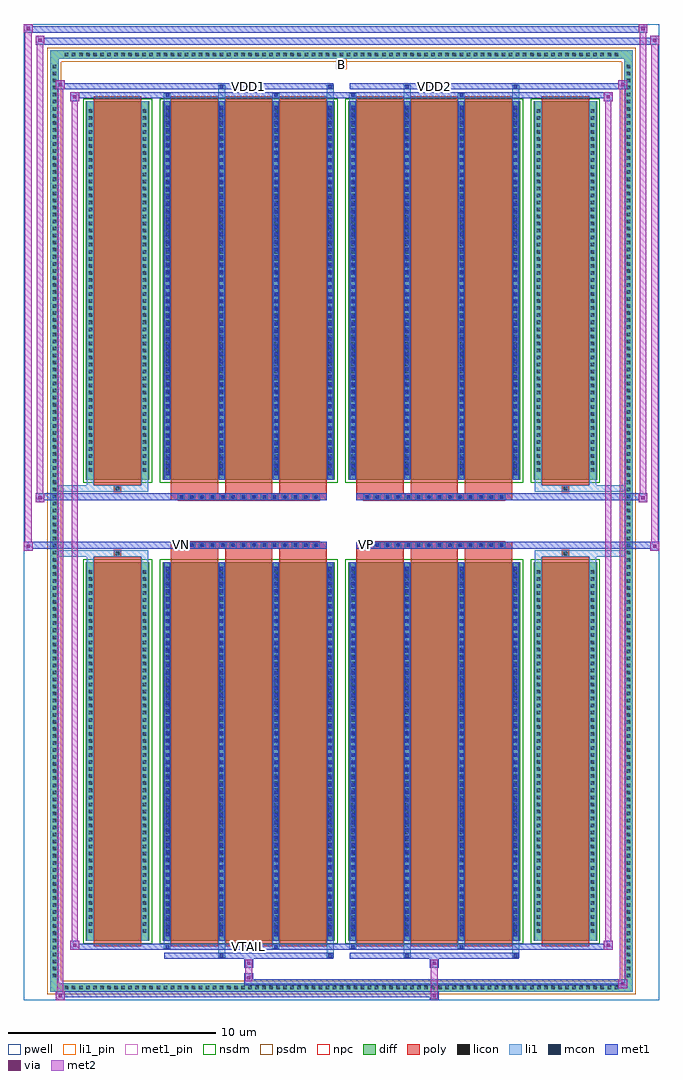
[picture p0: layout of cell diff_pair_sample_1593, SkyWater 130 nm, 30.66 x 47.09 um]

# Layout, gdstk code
import gdstk
lib = gdstk.Library(unit=1e-6, precision=5e-09)
def R(c, l, rs):  # rectangles x0, y0, x1, y1
    for r in rs: c.add(gdstk.rectangle(r[:2], r[2:], *l))
def A(c, l, x, y, w, h, nx, ny, dx, dy):  # array of equal rectangles
    R(c, l, [(x+i*dx, y+j*dy, x+i*dx+w, y+j*dy+h) for i in range(nx) for j in range(ny)])
def P(c, l, *ps):  # polygons
    for p in ps: c.add(gdstk.Polygon(p, *l))
pwell = (64, 44)
diff = (65, 20)
poly = (66, 20)
licon = (66, 44)
li1_pin = (67, 16)
li1 = (67, 20)
mcon = (67, 44)
met1_pin = (68, 16)
met1 = (68, 20)
via = (68, 44)
met2 = (69, 20)
nsdm = (93, 44)
psdm = (94, 20)
npc = (95, 20)

diff_pair_sample_1593 = lib.new_cell('diff_pair_sample_1593')
R(diff_pair_sample_1593, pwell, [(-15.33,-23.11,15.33,23.98), (-12.65,-21.3,-0.01,-0.8), (0.01,-21.3,12.65,-0.8), (-12.65,0.8,-0.01,21.3), (0.01,0.8,12.65,21.3)])
A(diff_pair_sample_1593, diff, -13.465, -22.71, 0.41, 0.41, 79, 2, 0.34, 45.01)
A(diff_pair_sample_1593, diff, -14.06, -22.135, 0.41, 0.41, 1, 130, 0, 0.34)
A(diff_pair_sample_1593, diff, 13.65, -22.135, 0.41, 0.41, 1, 130, 0, 0.34)
R(diff_pair_sample_1593, diff, [(-13.465,-22.71,13.465,-22.3), (-14.06,-22.135,-13.65,22.135), (13.65,-22.135,14.06,22.135), (-12.34,-20.255,-9.27,-1.985), (-8.63,-20.255,-0.32,-1.985), (0.32,-20.255,8.63,-1.985), (9.27,-20.255,12.34,-1.985), (-12.34,1.985,-9.27,20.255), (-8.63,1.985,-0.32,20.255), (0.32,1.985,8.63,20.255), (9.27,1.985,12.34,20.255), (-13.465,22.3,13.465,22.71)])
P(diff_pair_sample_1593, diff, [(14.06,22.71),(-14.06,22.71),(-14.06,-22.3),(-13.65,-22.3),(-13.65,22.3),(13.65,22.3),(13.65,-22.3),(-13.65,-22.3),(-14.06,-22.3),(-14.06,-22.71),(14.06,-22.71)])
A(diff_pair_sample_1593, poly, -8.24, -20.505, 2.29, 18.77, 3, 2, 2.62, 22.24)
A(diff_pair_sample_1593, poly, 0.71, -20.505, 2.29, 18.77, 3, 2, 2.62, 22.24)
A(diff_pair_sample_1593, poly, -8.24, -1.735, 2.29, 0.405, 3, 2, 2.62, 3.065)
A(diff_pair_sample_1593, poly, 0.71, -1.735, 2.29, 0.405, 3, 2, 2.62, 3.065)
A(diff_pair_sample_1593, poly, -7.89, -1.33, 0.33, 0.33, 14, 2, 0.5, 2.33)
A(diff_pair_sample_1593, poly, 1.06, -1.33, 0.33, 0.33, 14, 2, 0.5, 2.33)
R(diff_pair_sample_1593, poly, [(-11.95,-20.505,-9.66,-1.735), (9.66,-20.505,11.95,-1.735), (-10.97,-1.735,-10.64,-1.405), (-10.97,-1.735,-10.64,-1.405), (10.64,-1.735,10.97,-1.405), (10.64,-1.735,10.97,-1.405), (-8.24,-1.33,-0.71,-1), (0.71,-1.33,8.24,-1), (-8.24,1,-0.71,1.33), (0.71,1,8.24,1.33), (-10.97,1.405,-10.64,1.735), (-10.97,1.405,-10.64,1.735), (10.64,1.405,10.97,1.735), (10.64,1.405,10.97,1.735), (-11.95,1.735,-9.66,20.505), (9.66,1.735,11.95,20.505)])
A(diff_pair_sample_1593, licon, -13.345, -22.59, 0.17, 0.17, 79, 2, 0.34, 45.01)
A(diff_pair_sample_1593, licon, -13.94, -22.015, 0.17, 0.17, 1, 130, 0, 0.34)
A(diff_pair_sample_1593, licon, 13.77, -22.015, 0.17, 0.17, 1, 130, 0, 0.34)
A(diff_pair_sample_1593, licon, -12.2, -19.875, 0.17, 0.17, 1, 52, 0, 0.34)
A(diff_pair_sample_1593, licon, -9.58, -19.875, 0.17, 0.17, 1, 52, 0, 0.34)
A(diff_pair_sample_1593, licon, -8.49, -19.875, 0.17, 0.17, 4, 52, 2.62, 0.34)
A(diff_pair_sample_1593, licon, 0.46, -19.875, 0.17, 0.17, 4, 52, 2.62, 0.34)
A(diff_pair_sample_1593, licon, 9.41, -19.875, 0.17, 0.17, 1, 52, 0, 0.34)
A(diff_pair_sample_1593, licon, 12.03, -19.875, 0.17, 0.17, 1, 52, 0, 0.34)
A(diff_pair_sample_1593, licon, -7.81, -1.25, 0.17, 0.17, 14, 2, 0.5, 2.33)
A(diff_pair_sample_1593, licon, 1.14, -1.25, 0.17, 0.17, 14, 2, 0.5, 2.33)
A(diff_pair_sample_1593, licon, -12.2, 2.365, 0.17, 0.17, 1, 52, 0, 0.34)
A(diff_pair_sample_1593, licon, -9.58, 2.365, 0.17, 0.17, 1, 52, 0, 0.34)
A(diff_pair_sample_1593, licon, -8.49, 2.365, 0.17, 0.17, 4, 52, 2.62, 0.34)
A(diff_pair_sample_1593, licon, 0.46, 2.365, 0.17, 0.17, 4, 52, 2.62, 0.34)
A(diff_pair_sample_1593, licon, 9.41, 2.365, 0.17, 0.17, 1, 52, 0, 0.34)
A(diff_pair_sample_1593, licon, 12.03, 2.365, 0.17, 0.17, 1, 52, 0, 0.34)
R(diff_pair_sample_1593, licon, [(-10.89,-1.655,-10.72,-1.485), (10.72,-1.655,10.89,-1.485), (-10.89,1.485,-10.72,1.655), (10.72,1.485,10.89,1.655)])
R(diff_pair_sample_1593, li1_pin, [(-0.25,21.8,0.25,22.3)])
A(diff_pair_sample_1593, li1, -13.425, -22.67, 0.33, 0.33, 79, 2, 0.34, 45.01)
A(diff_pair_sample_1593, li1, -14.02, -22.095, 0.33, 0.33, 1, 130, 0, 0.34)
A(diff_pair_sample_1593, li1, 13.69, -22.095, 0.33, 0.33, 1, 130, 0, 0.34)
A(diff_pair_sample_1593, li1, -8.57, -20.255, 0.33, 18.27, 4, 2, 2.62, 22.24)
A(diff_pair_sample_1593, li1, 0.38, -20.255, 0.33, 18.27, 4, 2, 2.62, 22.24)
A(diff_pair_sample_1593, li1, -8.49, -20.025, 0.17, 0.17, 4, 50, 2.62, 0.36)
A(diff_pair_sample_1593, li1, -8.49, -20.025, 0.17, 17.81, 4, 2, 2.62, 22.24)
A(diff_pair_sample_1593, li1, 0.46, -20.025, 0.17, 0.17, 4, 50, 2.62, 0.36)
A(diff_pair_sample_1593, li1, 0.46, -20.025, 0.17, 17.81, 4, 2, 2.62, 22.24)
A(diff_pair_sample_1593, li1, -12.28, -19.955, 0.33, 0.33, 1, 52, 0, 0.34)
A(diff_pair_sample_1593, li1, -9.66, -19.955, 0.33, 0.33, 1, 52, 0, 0.34)
A(diff_pair_sample_1593, li1, -8.57, -19.955, 0.33, 0.33, 4, 52, 2.62, 0.34)
A(diff_pair_sample_1593, li1, 0.38, -19.955, 0.33, 0.33, 4, 52, 2.62, 0.34)
A(diff_pair_sample_1593, li1, 9.33, -19.955, 0.33, 0.33, 1, 52, 0, 0.34)
A(diff_pair_sample_1593, li1, 11.95, -19.955, 0.33, 0.33, 1, 52, 0, 0.34)
A(diff_pair_sample_1593, li1, -7.89, -1.33, 0.33, 0.33, 14, 2, 0.5, 2.33)
A(diff_pair_sample_1593, li1, 1.06, -1.33, 0.33, 0.33, 14, 2, 0.5, 2.33)
A(diff_pair_sample_1593, li1, -8.49, 2.215, 0.17, 0.17, 4, 50, 2.62, 0.36)
A(diff_pair_sample_1593, li1, 0.46, 2.215, 0.17, 0.17, 4, 50, 2.62, 0.36)
A(diff_pair_sample_1593, li1, -12.28, 2.285, 0.33, 0.33, 1, 52, 0, 0.34)
A(diff_pair_sample_1593, li1, -9.66, 2.285, 0.33, 0.33, 1, 52, 0, 0.34)
A(diff_pair_sample_1593, li1, -8.57, 2.285, 0.33, 0.33, 4, 52, 2.62, 0.34)
A(diff_pair_sample_1593, li1, 0.38, 2.285, 0.33, 0.33, 4, 52, 2.62, 0.34)
A(diff_pair_sample_1593, li1, 9.33, 2.285, 0.33, 0.33, 1, 52, 0, 0.34)
A(diff_pair_sample_1593, li1, 11.95, 2.285, 0.33, 0.33, 1, 52, 0, 0.34)
R(diff_pair_sample_1593, li1, [(-14.06,-22.71,-13.65,-22.3), (-14.06,-22.71,-13.65,-22.3), (-13.65,-22.71,13.65,-22.3), (13.65,-22.71,14.06,-22.3), (13.65,-22.71,14.06,-22.3), (-14.06,-22.3,-13.65,22.3), (13.65,-22.3,14.06,22.3), (-5.95,-21.06,-5.62,-20.255), (-5.87,-21.06,-5.7,-20.89), (-0.71,-21.06,-0.38,-20.255), (-0.63,-21.06,-0.46,-20.89), (3,-21.06,3.33,-20.255), (3.08,-21.06,3.25,-20.89), (8.24,-21.06,8.57,-20.255), (8.32,-21.06,8.49,-20.89), (-8.57,-20.63,-8.24,-20.255), (-8.49,-20.63,-8.32,-20.46), (-3.33,-20.63,-3,-20.255), (-3.25,-20.63,-3.08,-20.46), (0.38,-20.63,0.71,-20.255), (0.46,-20.63,0.63,-20.46), (5.62,-20.63,5.95,-20.255), (5.7,-20.63,5.87,-20.46), (-12.28,-20.255,-11.95,-1.985), (-9.66,-20.255,-9.33,-1.985), (9.33,-20.255,9.66,-1.985), (11.95,-20.255,12.28,-1.985), (-12.28,-1.985,-11.95,-1.405), (-9.66,-1.985,-9.33,-1.405), (9.33,-1.985,9.66,-1.405), (11.95,-1.985,12.28,-1.405), (-14.06,-1.735,-10.97,-1.405), (-12.28,-1.735,-10.97,-1.405), (-10.97,-1.735,-10.64,-1.405), (-10.64,-1.735,-9.33,-1.405), (9.33,-1.735,10.64,-1.405), (10.64,-1.735,10.97,-1.405), (10.64,-1.735,14.06,-1.405), (10.97,-1.735,12.28,-1.405), (-14.06,1.405,-10.97,1.735), (-12.28,1.405,-10.97,1.735), (-12.28,1.405,-11.95,1.985), (-10.97,1.405,-10.64,1.735), (-10.64,1.405,-9.33,1.735), (-9.66,1.405,-9.33,1.985), (9.33,1.405,10.64,1.735), (9.33,1.405,9.66,1.985), (10.64,1.405,10.97,1.735), (10.64,1.405,14.06,1.735), (10.97,1.405,12.28,1.735), (11.95,1.405,12.28,1.985), (-12.28,1.985,-11.95,20.255), (-9.66,1.985,-9.33,20.255), (9.33,1.985,9.66,20.255), (11.95,1.985,12.28,20.255), (-8.57,20.255,-8.24,20.63), (-5.95,20.255,-5.62,21.06), (-3.33,20.255,-3,20.63), (-0.71,20.255,-0.38,21.06), (0.38,20.255,0.71,20.63), (3,20.255,3.33,21.06), (5.62,20.255,5.95,20.63), (8.24,20.255,8.57,21.06), (-8.49,20.46,-8.32,20.63), (-3.25,20.46,-3.08,20.63), (0.46,20.46,0.63,20.63), (5.7,20.46,5.87,20.63), (-5.87,20.89,-5.7,21.06), (-0.63,20.89,-0.46,21.06), (3.08,20.89,3.25,21.06), (8.32,20.89,8.49,21.06), (-14.06,22.3,-13.65,22.71), (-14.06,22.3,-13.65,22.71), (-13.65,22.3,13.65,22.71), (13.65,22.3,14.06,22.71), (13.65,22.3,14.06,22.71)])
A(diff_pair_sample_1593, mcon, -8.49, -20.025, 0.17, 0.17, 4, 50, 2.62, 0.36)
A(diff_pair_sample_1593, mcon, 0.46, -20.025, 0.17, 0.17, 4, 50, 2.62, 0.36)
A(diff_pair_sample_1593, mcon, -7.81, -1.25, 0.17, 0.17, 14, 2, 0.5, 2.33)
A(diff_pair_sample_1593, mcon, 1.14, -1.25, 0.17, 0.17, 14, 2, 0.5, 2.33)
A(diff_pair_sample_1593, mcon, -8.49, 2.215, 0.17, 0.17, 4, 50, 2.62, 0.36)
A(diff_pair_sample_1593, mcon, 0.46, 2.215, 0.17, 0.17, 4, 50, 2.62, 0.36)
R(diff_pair_sample_1593, mcon, [(-5.87,-21.06,-5.7,-20.89), (-0.63,-21.06,-0.46,-20.89), (3.08,-21.06,3.25,-20.89), (8.32,-21.06,8.49,-20.89), (-8.49,-20.63,-8.32,-20.46), (-3.25,-20.63,-3.08,-20.46), (0.46,-20.63,0.63,-20.46), (5.7,-20.63,5.87,-20.46), (-8.49,20.46,-8.32,20.63), (-3.25,20.46,-3.08,20.63), (0.46,20.46,0.63,20.63), (5.7,20.46,5.87,20.63), (-5.87,20.89,-5.7,21.06), (-0.63,20.89,-0.46,21.06), (3.08,20.89,3.25,21.06), (8.32,20.89,8.49,21.06)])
R(diff_pair_sample_1593, met1_pin, [(-4.61,-20.67,-4.34,-20.4), (-7.86,-1.29,-7.59,-1.02), (1.09,-1.29,1.36,-1.02), (-4.61,20.85,-4.34,21.12), (4.34,20.85,4.61,21.12)])
A(diff_pair_sample_1593, met1, -8.55, -20.255, 0.29, 18.27, 4, 2, 2.62, 22.24)
A(diff_pair_sample_1593, met1, 0.4, -20.255, 0.29, 18.27, 4, 2, 2.62, 22.24)
A(diff_pair_sample_1593, met1, -8.55, -20.085, 0.29, 0.29, 4, 50, 2.62, 0.36)
A(diff_pair_sample_1593, met1, 0.4, -20.085, 0.29, 0.29, 4, 50, 2.62, 0.36)
A(diff_pair_sample_1593, met1, -7.87, -1.31, 0.29, 0.29, 14, 2, 0.5, 2.33)
A(diff_pair_sample_1593, met1, 1.08, -1.31, 0.29, 0.29, 14, 2, 0.5, 2.33)
A(diff_pair_sample_1593, met1, -8.55, 2.155, 0.29, 0.29, 4, 50, 2.62, 0.36)
A(diff_pair_sample_1593, met1, 0.4, 2.155, 0.29, 0.29, 4, 50, 2.62, 0.36)
R(diff_pair_sample_1593, met1, [(-13.79,-23.11,-13.36,-22.68), (4.26,-23.11,4.69,-22.68), (-13.79,-22.97,4.69,-22.68), (13.36,-22.54,13.79,-22.11), (-4.69,-22.4,13.79,-22.11), (-4.69,-22.26,-4.26,-21.83), (-4.69,-21.55,-4.26,-21.12), (4.26,-21.55,4.69,-21.12), (-8.55,-21.12,-0.4,-20.83), (-5.93,-21.12,-5.64,-20.83), (-0.69,-21.12,-0.4,-20.83), (0.4,-21.12,8.55,-20.83), (3.02,-21.12,3.31,-20.83), (8.26,-21.12,8.55,-20.83), (-13.08,-20.69,-12.65,-20.26), (-13.08,-20.69,-8.55,-20.4), (-8.55,-20.69,-8.26,-20.4), (-8.55,-20.69,-0.4,-20.4), (-3.31,-20.69,-3.02,-20.4), (-0.4,-20.69,0.4,-20.4), (0.4,-20.69,0.69,-20.4), (0.4,-20.69,8.55,-20.4), (5.64,-20.69,5.93,-20.4), (8.55,-20.69,13.08,-20.4), (12.65,-20.69,13.08,-20.26), (-15.33,-1.43,-14.9,-1), (14.9,-1.43,15.33,-1), (-15.33,-1.33,-0.71,-1), (-8.24,-1.33,-0.71,-1), (0.71,-1.33,8.24,-1), (0.71,-1.33,15.33,-1), (-14.76,0.9,-14.33,1.33), (14.33,0.9,14.76,1.33), (-14.76,1,-8.24,1.33), (-8.24,1,-0.71,1.33), (0.71,1,8.24,1.33), (8.24,1,14.76,1.33), (-13.08,20.26,-12.65,20.69), (12.65,20.26,13.08,20.69), (-13.08,20.4,-8.55,20.69), (-8.55,20.4,-8.26,20.69), (-8.55,20.4,-0.4,20.69), (-3.31,20.4,-3.02,20.69), (-0.4,20.4,0.4,20.69), (0.4,20.4,0.69,20.69), (0.4,20.4,8.55,20.69), (5.64,20.4,5.93,20.69), (8.55,20.4,13.08,20.69), (-13.79,20.83,-13.36,21.26), (-13.79,20.83,-8.55,21.12), (-8.55,20.83,-0.4,21.12), (-5.93,20.83,-5.64,21.12), (-0.69,20.83,-0.4,21.12), (0.4,20.83,8.55,21.12), (3.02,20.83,3.31,21.12), (8.26,20.83,8.55,21.12), (8.55,20.83,13.79,21.12), (13.36,20.83,13.79,21.26), (-14.76,22.98,-14.33,23.41), (-14.76,22.98,-12.65,23.31), (-12.65,22.98,12.65,23.31), (12.65,22.98,15.33,23.31), (14.9,22.98,15.33,23.41), (-15.33,23.55,-14.9,23.98), (-15.33,23.55,-12.65,23.88), (-12.65,23.55,12.65,23.88), (12.65,23.55,14.76,23.88), (14.33,23.55,14.76,23.98)])
R(diff_pair_sample_1593, via, [(-13.65,-22.97,-13.5,-22.82), (4.4,-22.97,4.55,-22.82), (13.5,-22.4,13.65,-22.25), (-4.55,-22.12,-4.4,-21.97), (-4.55,-21.41,-4.4,-21.26), (4.4,-21.41,4.55,-21.26), (-12.94,-20.55,-12.79,-20.4), (12.79,-20.55,12.94,-20.4), (-15.19,-1.29,-15.04,-1.14), (15.04,-1.29,15.19,-1.14), (-14.62,1.04,-14.47,1.19), (14.47,1.04,14.62,1.19), (-12.94,20.4,-12.79,20.55), (12.79,20.4,12.94,20.55), (-13.65,20.97,-13.5,21.12), (13.5,20.97,13.65,21.12), (-14.62,23.12,-14.47,23.27), (15.04,23.12,15.19,23.27), (-15.19,23.69,-15.04,23.84), (14.47,23.69,14.62,23.84)])
R(diff_pair_sample_1593, met2, [(-13.79,-23.11,-13.36,-22.68), (-13.72,-23.11,-13.43,21.26), (-13.43,-23.11,-13.36,-22.68), (-13.74,-23.06,-13.41,-22.73), (4.31,-23.06,4.64,-22.73), (4.31,-22.73,4.64,-21.5), (13.36,-22.54,13.79,-22.11), (13.43,-22.54,13.72,21.26), (13.72,-22.54,13.79,-22.11), (13.41,-22.49,13.74,-22.16), (-4.64,-22.21,-4.31,-21.88), (-4.64,-21.88,-4.31,-21.5), (-4.64,-21.5,-4.31,-21.17), (4.31,-21.5,4.64,-21.17), (-13.08,-20.69,-12.65,-20.26), (-13.01,-20.69,-12.72,20.69), (-12.72,-20.69,-12.65,-20.26), (12.65,-20.69,13.08,-20.26), (12.72,-20.69,13.01,20.69), (13.01,-20.69,13.08,-20.26), (-13.03,-20.64,-12.7,-20.31), (12.7,-20.64,13.03,-20.31), (-15.33,-1.43,-14.9,-1), (-15.28,-1.43,-14.95,23.98), (-14.95,-1.43,-14.9,-1), (14.9,-1.43,15.33,-1), (14.95,-1.43,15.28,23.41), (15.28,-1.43,15.33,-1), (-15.28,-1.38,-14.95,-1.05), (14.95,-1.38,15.28,-1.05), (-14.76,0.9,-14.33,1.33), (-14.71,0.9,-14.38,23.41), (-14.38,0.9,-14.33,1.33), (14.33,0.9,14.76,1.33), (14.38,0.9,14.71,23.98), (14.71,0.9,14.76,1.33), (-14.71,0.95,-14.38,1.28), (14.38,0.95,14.71,1.28), (-13.08,20.26,-12.65,20.69), (-12.72,20.26,-12.65,20.69), (12.65,20.26,13.08,20.69), (13.01,20.26,13.08,20.69), (-13.03,20.31,-12.7,20.64), (12.7,20.31,13.03,20.64), (-13.79,20.83,-13.36,21.26), (-13.43,20.83,-13.36,21.26), (13.36,20.83,13.79,21.26), (13.72,20.83,13.79,21.26), (-13.74,20.88,-13.41,21.21), (13.41,20.88,13.74,21.21), (-14.76,22.98,-14.33,23.41), (-14.38,22.98,-14.33,23.41), (14.9,22.98,15.33,23.41), (15.28,22.98,15.33,23.41), (-14.71,23.03,-14.38,23.36), (14.95,23.03,15.28,23.36), (-15.33,23.55,-14.9,23.98), (-14.95,23.55,-14.9,23.98), (14.33,23.55,14.76,23.98), (14.71,23.55,14.76,23.98), (-15.28,23.6,-14.95,23.93), (14.38,23.6,14.71,23.93)])
R(diff_pair_sample_1593, nsdm, [(-12.47,-20.385,-9.14,-1.855), (-8.76,-20.385,-0.19,-1.855), (0.19,-20.385,8.76,-1.855), (9.14,-20.385,12.47,-1.855), (-12.47,1.855,-9.14,20.385), (-8.76,1.855,-0.19,20.385), (0.19,1.855,8.76,20.385), (9.14,1.855,12.47,20.385)])
P(diff_pair_sample_1593, psdm, [(14.19,22.84),(-14.19,22.84),(-14.19,-22.17),(-13.52,-22.17),(-13.52,22.17),(13.52,22.17),(13.52,-22.17),(-13.52,-22.17),(-14.19,-22.17),(-14.19,-22.84),(14.19,-22.84)])
A(diff_pair_sample_1593, npc, -7.91, -1.35, 0.37, 0.37, 14, 2, 0.5, 2.33)
A(diff_pair_sample_1593, npc, 1.04, -1.35, 0.37, 0.37, 14, 2, 0.5, 2.33)
R(diff_pair_sample_1593, npc, [(-10.99,-1.755,-10.62,-1.385), (10.62,-1.755,10.99,-1.385), (-7.91,-1.35,-7.04,-0.98), (-7.91,-1.35,-7.04,-0.98), (-7.41,-1.35,-6.54,-0.98), (-7.41,-1.35,-6.54,-0.98), (-6.91,-1.35,-6.04,-0.98), (-6.91,-1.35,-6.04,-0.98), (-6.41,-1.35,-5.54,-0.98), (-6.41,-1.35,-5.54,-0.98), (-5.91,-1.35,-5.04,-0.98), (-5.91,-1.35,-5.04,-0.98), (-5.41,-1.35,-4.54,-0.98), (-5.41,-1.35,-4.54,-0.98), (-4.91,-1.35,-4.04,-0.98), (-4.91,-1.35,-4.04,-0.98), (-4.41,-1.35,-3.54,-0.98), (-4.41,-1.35,-3.54,-0.98), (-3.91,-1.35,-3.04,-0.98), (-3.91,-1.35,-3.04,-0.98), (-3.41,-1.35,-2.54,-0.98), (-3.41,-1.35,-2.54,-0.98), (-2.91,-1.35,-2.04,-0.98), (-2.91,-1.35,-2.04,-0.98), (-2.41,-1.35,-1.54,-0.98), (-2.41,-1.35,-1.54,-0.98), (-1.91,-1.35,-1.04,-0.98), (-1.91,-1.35,-1.04,-0.98), (1.04,-1.35,1.91,-0.98), (1.04,-1.35,1.91,-0.98), (1.54,-1.35,2.41,-0.98), (1.54,-1.35,2.41,-0.98), (2.04,-1.35,2.91,-0.98), (2.04,-1.35,2.91,-0.98), (2.54,-1.35,3.41,-0.98), (2.54,-1.35,3.41,-0.98), (3.04,-1.35,3.91,-0.98), (3.04,-1.35,3.91,-0.98), (3.54,-1.35,4.41,-0.98), (3.54,-1.35,4.41,-0.98), (4.04,-1.35,4.91,-0.98), (4.04,-1.35,4.91,-0.98), (4.54,-1.35,5.41,-0.98), (4.54,-1.35,5.41,-0.98), (5.04,-1.35,5.91,-0.98), (5.04,-1.35,5.91,-0.98), (5.54,-1.35,6.41,-0.98), (5.54,-1.35,6.41,-0.98), (6.04,-1.35,6.91,-0.98), (6.04,-1.35,6.91,-0.98), (6.54,-1.35,7.41,-0.98), (6.54,-1.35,7.41,-0.98), (7.04,-1.35,7.91,-0.98), (7.04,-1.35,7.91,-0.98), (-7.91,0.98,-7.04,1.35), (-7.91,0.98,-7.04,1.35), (-7.41,0.98,-6.54,1.35), (-7.41,0.98,-6.54,1.35), (-6.91,0.98,-6.04,1.35), (-6.91,0.98,-6.04,1.35), (-6.41,0.98,-5.54,1.35), (-6.41,0.98,-5.54,1.35), (-5.91,0.98,-5.04,1.35), (-5.91,0.98,-5.04,1.35), (-5.41,0.98,-4.54,1.35), (-5.41,0.98,-4.54,1.35), (-4.91,0.98,-4.04,1.35), (-4.91,0.98,-4.04,1.35), (-4.41,0.98,-3.54,1.35), (-4.41,0.98,-3.54,1.35), (-3.91,0.98,-3.04,1.35), (-3.91,0.98,-3.04,1.35), (-3.41,0.98,-2.54,1.35), (-3.41,0.98,-2.54,1.35), (-2.91,0.98,-2.04,1.35), (-2.91,0.98,-2.04,1.35), (-2.41,0.98,-1.54,1.35), (-2.41,0.98,-1.54,1.35), (-1.91,0.98,-1.04,1.35), (-1.91,0.98,-1.04,1.35), (1.04,0.98,1.91,1.35), (1.04,0.98,1.91,1.35), (1.54,0.98,2.41,1.35), (1.54,0.98,2.41,1.35), (2.04,0.98,2.91,1.35), (2.04,0.98,2.91,1.35), (2.54,0.98,3.41,1.35), (2.54,0.98,3.41,1.35), (3.04,0.98,3.91,1.35), (3.04,0.98,3.91,1.35), (3.54,0.98,4.41,1.35), (3.54,0.98,4.41,1.35), (4.04,0.98,4.91,1.35), (4.04,0.98,4.91,1.35), (4.54,0.98,5.41,1.35), (4.54,0.98,5.41,1.35), (5.04,0.98,5.91,1.35), (5.04,0.98,5.91,1.35), (5.54,0.98,6.41,1.35), (5.54,0.98,6.41,1.35), (6.04,0.98,6.91,1.35), (6.04,0.98,6.91,1.35), (6.54,0.98,7.41,1.35), (6.54,0.98,7.41,1.35), (7.04,0.98,7.91,1.35), (7.04,0.98,7.91,1.35), (-10.99,1.385,-10.62,1.755), (10.62,1.385,10.99,1.755)])
diff_pair_sample_1593.add(gdstk.Label('VTAIL', (-4.475,-20.535), layer=68, texttype=5))
diff_pair_sample_1593.add(gdstk.Label('VN', (-7.725,-1.155), layer=68, texttype=5))
diff_pair_sample_1593.add(gdstk.Label('VP', (1.225,-1.155), layer=68, texttype=5))
diff_pair_sample_1593.add(gdstk.Label('B', (0,22.05), layer=67, texttype=5))
diff_pair_sample_1593.add(gdstk.Label('VDD2', (4.475,20.985), layer=68, texttype=5))
diff_pair_sample_1593.add(gdstk.Label('VDD1', (-4.475,20.985), layer=68, texttype=5))

lib.write_gds('diff_pair_sample_1593.gds')
